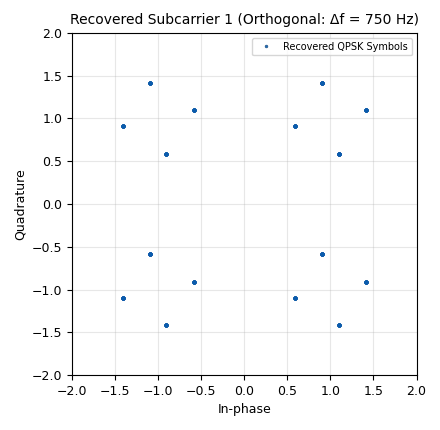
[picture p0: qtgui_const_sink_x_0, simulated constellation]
options:
  parameters:
    author: Dhrubjun
    generate_options: qt_gui
    id: exp4
    output_language: python
    title: Recovering Data from Orthogonal Subcarriers
  states: {}

blocks:
- name: N
  id: variable
  parameters:
    value: '32'
  states: {}
- name: Tu
  id: variable
  parameters:
    value: N/samp_rate
  states: {}
- name: f1
  id: variable
  parameters:
    value: '1000'
  states: {}
- name: f2
  id: variable
  parameters:
    value: '1750'
  states: {}
- name: samp_rate
  id: variable
  parameters:
    value: '32000'
  states: {}
- name: analog_random_source_x_0
  id: analog_random_source_x
  parameters:
    max: '2'
    min: '0'
    num_samps: '1000'
    repeat: 'True'
    type: byte
  states: {}
- name: analog_random_source_x_0_0
  id: analog_random_source_x
  parameters:
    max: '2'
    min: '0'
    num_samps: '1000'
    repeat: 'True'
    type: byte
  states: {}
- name: analog_random_source_x_0_0_0
  id: analog_random_source_x
  parameters:
    max: '2'
    min: '0'
    num_samps: '1000'
    repeat: 'True'
    type: byte
  states: {}
- name: analog_random_source_x_0_1
  id: analog_random_source_x
  parameters:
    max: '2'
    min: '0'
    num_samps: '1000'
    repeat: 'True'
    type: byte
  states: {}
- name: analog_sig_source_x_0
  id: analog_sig_source_x
  parameters:
    amp: '1'
    freq: f1
    offset: '0'
    phase: '0'
    samp_rate: samp_rate
    type: complex
    waveform: analog.GR_COS_WAVE
  states: {}
- name: analog_sig_source_x_0_0
  id: analog_sig_source_x
  parameters:
    amp: '1'
    freq: f2
    offset: '0'
    phase: '0'
    samp_rate: samp_rate
    type: complex
    waveform: analog.GR_COS_WAVE
  states: {}
- name: blocks_add_xx_0
  id: blocks_add_xx
  parameters:
    type: complex
  states: {}
- name: blocks_float_to_complex_0
  id: blocks_float_to_complex
  parameters: {}
  states: {}
- name: blocks_float_to_complex_0_0
  id: blocks_float_to_complex
  parameters: {}
  states: {}
- name: blocks_keep_one_in_n_0
  id: blocks_keep_one_in_n
  parameters:
    n: N
    type: complex
  states: {}
- name: blocks_moving_average_xx_0
  id: blocks_moving_average_xx
  parameters:
    length: N
    max_iter: '4000'
    scale: 1/N
    type: complex
  states: {}
- name: blocks_multiply_conjugate_cc_0
  id: blocks_multiply_conjugate_cc
  parameters: {}
  states: {}
- name: blocks_multiply_xx_0
  id: blocks_multiply_xx
  parameters:
    type: complex
  states: {}
- name: blocks_multiply_xx_0_0
  id: blocks_multiply_xx
  parameters:
    type: complex
  states: {}
- name: blocks_repeat_0
  id: blocks_repeat
  parameters:
    interp: N
    type: complex
  states: {}
- name: blocks_repeat_0_0
  id: blocks_repeat
  parameters:
    interp: N
    type: complex
  states: {}
- name: blocks_throttle2_0
  id: blocks_throttle2
  parameters:
    samples_per_second: samp_rate
    type: complex
  states: {}
- name: blocks_throttle2_0_0
  id: blocks_throttle2
  parameters:
    samples_per_second: samp_rate
    type: complex
  states: {}
- name: digital_chunks_to_symbols_xx_0
  id: digital_chunks_to_symbols_xx
  parameters:
    dimension: '1'
    in_type: byte
    out_type: float
    symbol_table: '[-1,1]'
  states: {}
- name: digital_chunks_to_symbols_xx_0_0
  id: digital_chunks_to_symbols_xx
  parameters:
    dimension: '1'
    in_type: byte
    out_type: float
    symbol_table: '[-1,1]'
  states: {}
- name: digital_chunks_to_symbols_xx_0_0_0
  id: digital_chunks_to_symbols_xx
  parameters:
    dimension: '1'
    in_type: byte
    out_type: float
    symbol_table: '[-1,1]'
  states: {}
- name: digital_chunks_to_symbols_xx_0_1
  id: digital_chunks_to_symbols_xx
  parameters:
    dimension: '1'
    in_type: byte
    out_type: float
    symbol_table: '[-1,1]'
  states: {}
- name: qtgui_const_sink_x_0
  id: qtgui_const_sink_x
  parameters:
    grid: 'True'
    label1: Recovered QPSK Symbols
    name: 'Recovered Subcarrier 1 (Orthogonal: Δf = 750 Hz)'
    size: '1024'
    type: complex
    width1: '2'
  states: {}

connections:
- [analog_random_source_x_0, '0', digital_chunks_to_symbols_xx_0, '0']
- [analog_random_source_x_0_0, '0', digital_chunks_to_symbols_xx_0_0, '0']
- [analog_random_source_x_0_0_0, '0', digital_chunks_to_symbols_xx_0_0_0, '0']
- [analog_random_source_x_0_1, '0', digital_chunks_to_symbols_xx_0_1, '0']
- [analog_sig_source_x_0, '0', blocks_multiply_conjugate_cc_0, '0']
- [analog_sig_source_x_0, '0', blocks_multiply_xx_0, '0']
- [analog_sig_source_x_0_0, '0', blocks_multiply_xx_0_0, '0']
- [blocks_add_xx_0, '0', blocks_multiply_conjugate_cc_0, '1']
- [blocks_float_to_complex_0, '0', blocks_repeat_0, '0']
- [blocks_float_to_complex_0_0, '0', blocks_repeat_0_0, '0']
- [blocks_keep_one_in_n_0, '0', qtgui_const_sink_x_0, '0']
- [blocks_moving_average_xx_0, '0', blocks_keep_one_in_n_0, '0']
- [blocks_multiply_conjugate_cc_0, '0', blocks_moving_average_xx_0, '0']
- [blocks_multiply_xx_0, '0', blocks_add_xx_0, '0']
- [blocks_multiply_xx_0_0, '0', blocks_add_xx_0, '1']
- [blocks_repeat_0, '0', blocks_throttle2_0, '0']
- [blocks_repeat_0_0, '0', blocks_throttle2_0_0, '0']
- [blocks_throttle2_0, '0', blocks_multiply_xx_0, '1']
- [blocks_throttle2_0_0, '0', blocks_multiply_xx_0_0, '1']
- [digital_chunks_to_symbols_xx_0, '0', blocks_float_to_complex_0, '0']
- [digital_chunks_to_symbols_xx_0_0, '0', blocks_float_to_complex_0, '1']
- [digital_chunks_to_symbols_xx_0_0_0, '0', blocks_float_to_complex_0_0, '1']
- [digital_chunks_to_symbols_xx_0_1, '0', blocks_float_to_complex_0_0, '0']

metadata:
  file_format: 1
  grc_version: 3.10.12.0
